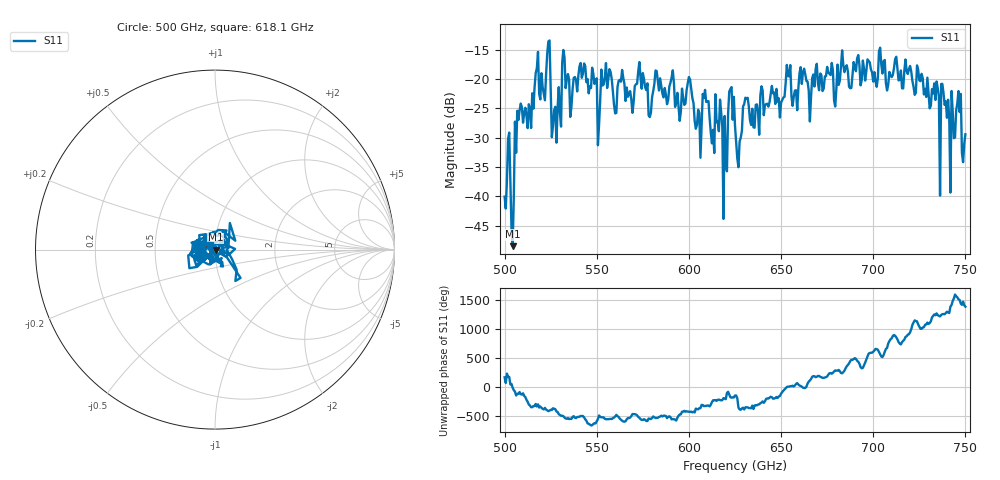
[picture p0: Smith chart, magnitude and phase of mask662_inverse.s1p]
!Created with skrf (http://scikit-rf.org).
# GHz S MA R 50.0
!freq magS11 angS11
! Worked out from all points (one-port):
!   401 points, 500 GHz to 750 GHz, reference 50 ohm
!   lowest |S11| = -48.5 dB at 504.4 GHz (marker M1), VSWR 1.01, Z = 50.4 - j0.0835 ohm
!   |S11| at or under -10 dB: start of sweep to end of sweep
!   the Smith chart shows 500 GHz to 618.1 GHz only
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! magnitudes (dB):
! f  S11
! 500 GHz  -40.0
! 501.9 GHz  -30.2
! 504.4 GHz  -48.5
! 508.1 GHz  -25.4
! 523.8 GHz  -13.6
! 526.9 GHz  -25.3
! 531.2 GHz  -17.2
! 542.5 GHz  -19.1
! 550.6 GHz  -31.3
! 562.5 GHz  -20.2
! 579.4 GHz  -25.8
! 590.6 GHz  -19.7
! 593.8 GHz  -22.4
! 600 GHz  -19.7
! 605.6 GHz  -25.8
! 608.8 GHz  -21.9
! 612.5 GHz  -31.0
! 616.9 GHz  -23.5
! 619.4 GHz  -26.3
! 623.1 GHz  -21.4
! 625 GHz  -28.0
! 656.2 GHz  -24.6
! 687.5 GHz  -21.6
! 718.8 GHz  -19.2
! 738.1 GHz  -22.4
! 743.1 GHz  -25.6
! 746.2 GHz  -22.1
! 750 GHz  -29.4
